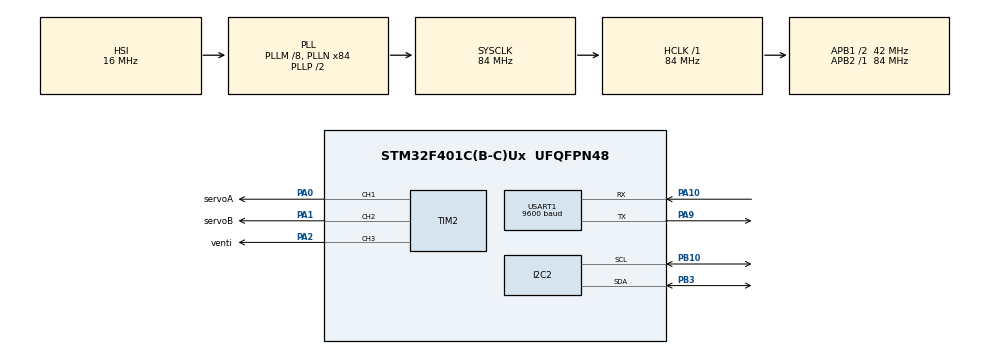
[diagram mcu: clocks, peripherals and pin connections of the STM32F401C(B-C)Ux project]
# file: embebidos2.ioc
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Mcu.Family=STM32F4
Mcu.Name=STM32F401C(B-C)Ux
Mcu.Package=UFQFPN48
Mcu.UserConstants=i2c_pin,$$_I2C2_IP_HANDLE_$$
NVIC.PriorityGroup=NVIC_PRIORITYGROUP_4
PA0-WKUP.GPIO_Label=servoA
PA0-WKUP.Signal=S_TIM2_CH1_ETR
PA1.GPIO_Label=servoB
PA1.Signal=S_TIM2_CH2
PA10.Mode=Asynchronous
PA10.Signal=USART1_RX
PA2.GPIO_Label=venti
PA2.Signal=S_TIM2_CH3
PA9.Mode=Asynchronous
PA9.Signal=USART1_TX
PB10.Mode=I2C
PB10.Signal=I2C2_SCL
PB3.Mode=I2C
PB3.Signal=I2C2_SDA
PH0\ -\ OSC_IN.Mode=HSE-External-Oscillator
PH0\ -\ OSC_IN.Signal=RCC_OSC_IN
PH1\ -\ OSC_OUT.Mode=HSE-External-Oscillator
PH1\ -\ OSC_OUT.Signal=RCC_OSC_OUT
ProjectManager.HeapSize=0x200
ProjectManager.StackSize=0x400
ProjectManager.TargetToolchain=CMake
RCC.48MHZClocksFreq_Value=42000000
RCC.AHBFreq_Value=84000000
RCC.APB1CLKDivider=RCC_HCLK_DIV2
RCC.APB1Freq_Value=42000000
RCC.APB1TimFreq_Value=84000000
RCC.APB2Freq_Value=84000000
RCC.APB2TimFreq_Value=84000000
RCC.CortexFreq_Value=84000000
RCC.HCLKFreq_Value=84000000
RCC.HSE_VALUE=25000000
RCC.HSI_VALUE=16000000
RCC.LSE_VALUE=32768
RCC.PLLM=8
RCC.PLLN=84
RCC.SYSCLKFreq_VALUE=84000000
RCC.SYSCLKSource=RCC_SYSCLKSOURCE_PLLCLK
RCC.VCOOutputFreq_Value=168000000
SH.S_TIM2_CH1_ETR.0=TIM2_CH1,PWM Generation1 CH1
SH.S_TIM2_CH2.0=TIM2_CH2,PWM Generation2 CH2
SH.S_TIM2_CH3.0=TIM2_CH3,PWM Generation3 CH3
TIM2.Channel-PWM\ Generation1\ CH1=TIM_CHANNEL_1
TIM2.Channel-PWM\ Generation2\ CH2=TIM_CHANNEL_2
TIM2.Channel-PWM\ Generation3\ CH3=TIM_CHANNEL_3
USART1.BaudRate=9600
USART1.VirtualMode=VM_ASYNC
board=custom

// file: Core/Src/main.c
/* USER CODE BEGIN Header */
/**
  ******************************************************************************
  * @file           : main.c
  * @brief          : Main program body
  ******************************************************************************
  * @attention
  *
  * Copyright (c) 2026 STMicroelectronics.
  * All rights reserved.
  *
  * This software is licensed under terms that can be found in the LICENSE file
  * in the root directory of this software component.
  * If no LICENSE file comes with this software, it is provided AS-IS.
  *
  ******************************************************************************
  */
/* USER CODE END Header */
#include "main.h"

/* USER CODE BEGIN Includes */

#include "stdio.h"
#include "string.h"
#include "stdlib.h"
#include "uart.h"
//#include "adc_x.h"

#include "delays.h"
#include "BH1750.h"

#include "BME280_STM32.h"

/* USER CODE END Includes */

I2C_HandleTypeDef hi2c2;

TIM_HandleTypeDef htim2;

UART_HandleTypeDef huart1;

/* USER CODE BEGIN PV */
/*uint16_t codigo;

float voltaje;
float bateria;
/*char buf[64];*/
char buffer[50];
float v_pot, v_fuente, lux;
uint16_t raw_luz =0;
#define FACTOR_FUENTE 4.0f // pon 4.0f si usas un divisor 4:1

float Temperature, Pressure, Humidity; // Variables para mediciones del BME280

/*uint8_t contador = 0;     // va de 0 a 50
int8_t  paso = 1;   */      // +1 sube, -1 baja*/

/* USER CODE END PV */

void SystemClock_Config(void);
static void MX_GPIO_Init(void);
static void MX_USART1_UART_Init(void);
static void MX_I2C2_Init(void);
static void MX_TIM2_Init(void);

int main(void)
{

  /* MCU Configuration--------------------------------------------------------*/

  /* Reset of all peripherals, Initializes the Flash interface and the Systick. */
  HAL_Init();

  /* Configure the system clock */
  SystemClock_Config();

  /* Initialize all configured peripherals */
  MX_GPIO_Init();
  MX_USART1_UART_Init();
  MX_I2C2_Init();
  MX_TIM2_Init();
  /* USER CODE BEGIN 2 */

uartx_write_text(&huart1,"Iniciando el programa\r\n");
/*char buffer[50];*/
uartx_write_text(&huart1, "Iniciando el programa\r\n");
BH1750_init();   // obligatorio: también inicia los delay

BME280_Config(OSRS_2, OSRS_16, OSRS_1, MODE_FORCED, T_SB_0p5, IIR_16);
  /* USER CODE END 2 */

  /* Infinite loop */
  /* USER CODE BEGIN WHILE */
  while (1)
  {

   /* uartx_write_text(&huart1,"Iniciando el programa\r\n");
    HAL_Delay(1000);*/
    /*codigo = ADC_Read(&hadc1);*/

    /*ADC_Read_All(&hadc1, adc1_canales, adc1_codigo);

    sprintf(buffer, "ADC Value: %u\r\n", adc1_codigo[0]);
    uartx_write_text(&huart1, buffer);
    voltaje = adc1_codigo[0] * 3.3 / 4095.0;
    bateria = (float)adc1_codigo[1] * 3.3 / 4095.0;
    bateria = bateria * 4; // Ajuste según el divisor de voltaje
    sprintf(buffer, "Voltage: %.2f V\r\n", voltaje);
    uartx_write_text(&huart1, buffer);
    HAL_Delay(1000); // una lectura cada 1 segundo  */

    // 1. ADC: potenciometro y fuente
   /* ADC_Read_All(&hadc1, adc1_canales, adc1_codigo);*/

    // Potenciometro
    /*v_pot = adc1_codigo[0] * 3.3f / 4095.0f;

    // Fuente de 12 V
    // La fuente está conectada al tercer canal -> adc1_codigo[2]
    v_fuente = adc1_codigo[2] * 3.3f / 4095.0f * FACTOR_FUENTE;*/

    // 2. BH1750
    BH1750_write(power_up);
    BH1750_write(continua_auto_res1);

    delay_ms(180);

    raw_luz = BH1750_Lumen(continua_LO_1); // modo baja resolución

    // 3. Enviar datos por UART
    /*sprintf(buffer,
            "Pot: %.2f V | Fuente: %.2f V | Luz: %u lx\r\n",
            v_pot,
            v_fuente,
            raw_luz);

    uartx_write_text(&huart1, buffer);*/

    BME280_WakeUP(); // Poner en modo FORCED para realizar una medición
HAL_Delay(100);  // Esperar a que finalice la medición

BME280_Measure(); // Leer los datos del BME280

sprintf(buffer, "Temp: %.2f °C | Hum: %.2f %%\r\n |Luz: %u lx\r\n",
        Temperature, Humidity, raw_luz);

    uartx_write_text(&huart1, buffer);
    HAL_Delay(1000);
}

    /* USER CODE END WHILE */

    /* USER CODE BEGIN 3 */

    // Valores que dependen del contador
    /*uint16_t volt_mv = contador * 100;   // 0 a 5000 mV  -> 0 a 5 V
    uint16_t luz     = contador * 2;     // 0 a 100 %
    uint16_t lux     = contador * 10;    // 0 a 500 lux

    // Enviar: voltaje,luz,luminosidad
    int n = sprintf(buf, "%u.%02u,%u,%u\r\n",
                    volt_mv / 1000, (volt_mv % 1000) / 10, luz, lux);
    HAL_UART_Transmit(&huart1, (uint8_t*)buf, n, 100);

    // Actualizar contador (sube hasta 50 y luego baja hasta 0)
    contador += paso;
    if (contador >= 50) paso = -1;
    if (contador == 0)  paso = 1;

    HAL_Delay(200);  */ // una lectura cada 200 ms

  /* USER CODE END 3 */
}

void SystemClock_Config(void)
{
  RCC_OscInitTypeDef RCC_OscInitStruct = {0};
  RCC_ClkInitTypeDef RCC_ClkInitStruct = {0};

  /** Configure the main internal regulator output voltage
  */
  __HAL_RCC_PWR_CLK_ENABLE();
  __HAL_PWR_VOLTAGESCALING_CONFIG(PWR_REGULATOR_VOLTAGE_SCALE2);

  /** Initializes the RCC Oscillators according to the specified parameters
  * in the RCC_OscInitTypeDef structure.
  */
  RCC_OscInitStruct.OscillatorType = RCC_OSCILLATORTYPE_HSI;
  RCC_OscInitStruct.HSIState = RCC_HSI_ON;
  RCC_OscInitStruct.HSICalibrationValue = RCC_HSICALIBRATION_DEFAULT;
  RCC_OscInitStruct.PLL.PLLState = RCC_PLL_ON;
  RCC_OscInitStruct.PLL.PLLSource = RCC_PLLSOURCE_HSI;
  RCC_OscInitStruct.PLL.PLLM = 8;
  RCC_OscInitStruct.PLL.PLLN = 84;
  RCC_OscInitStruct.PLL.PLLP = RCC_PLLP_DIV2;
  RCC_OscInitStruct.PLL.PLLQ = 4;
  if (HAL_RCC_OscConfig(&RCC_OscInitStruct) != HAL_OK)
  {
    Error_Handler();
  }

  /** Initializes the CPU, AHB and APB buses clocks
  */
  RCC_ClkInitStruct.ClockType = RCC_CLOCKTYPE_HCLK|RCC_CLOCKTYPE_SYSCLK
                              |RCC_CLOCKTYPE_PCLK1|RCC_CLOCKTYPE_PCLK2;
  RCC_ClkInitStruct.SYSCLKSource = RCC_SYSCLKSOURCE_PLLCLK;
  RCC_ClkInitStruct.AHBCLKDivider = RCC_SYSCLK_DIV1;
  RCC_ClkInitStruct.APB1CLKDivider = RCC_HCLK_DIV2;
  RCC_ClkInitStruct.APB2CLKDivider = RCC_HCLK_DIV1;

  if (HAL_RCC_ClockConfig(&RCC_ClkInitStruct, FLASH_LATENCY_2) != HAL_OK)
  {
    Error_Handler();
  }
}

static void MX_I2C2_Init(void)
{

  hi2c2.Instance = I2C2;
  hi2c2.Init.ClockSpeed = 100000;
  hi2c2.Init.DutyCycle = I2C_DUTYCYCLE_2;
  hi2c2.Init.OwnAddress1 = 0;
  hi2c2.Init.AddressingMode = I2C_ADDRESSINGMODE_7BIT;
  hi2c2.Init.DualAddressMode = I2C_DUALADDRESS_DISABLE;
  hi2c2.Init.OwnAddress2 = 0;
  hi2c2.Init.GeneralCallMode = I2C_GENERALCALL_DISABLE;
  hi2c2.Init.NoStretchMode = I2C_NOSTRETCH_DISABLE;
  if (HAL_I2C_Init(&hi2c2) != HAL_OK)
  {
    Error_Handler();
  }

}

static void MX_TIM2_Init(void)
{

  TIM_MasterConfigTypeDef sMasterConfig = {0};
  TIM_OC_InitTypeDef sConfigOC = {0};

  htim2.Instance = TIM2;
  htim2.Init.Prescaler = 0;
  htim2.Init.CounterMode = TIM_COUNTERMODE_UP;
  htim2.Init.Period = 4294967295;
  htim2.Init.ClockDivision = TIM_CLOCKDIVISION_DIV1;
  htim2.Init.AutoReloadPreload = TIM_AUTORELOAD_PRELOAD_DISABLE;
  if (HAL_TIM_PWM_Init(&htim2) != HAL_OK)
  {
    Error_Handler();
  }
  sMasterConfig.MasterOutputTrigger = TIM_TRGO_RESET;
  sMasterConfig.MasterSlaveMode = TIM_MASTERSLAVEMODE_DISABLE;
  if (HAL_TIMEx_MasterConfigSynchronization(&htim2, &sMasterConfig) != HAL_OK)
  {
    Error_Handler();
  }
  sConfigOC.OCMode = TIM_OCMODE_PWM1;
  sConfigOC.Pulse = 0;
  sConfigOC.OCPolarity = TIM_OCPOLARITY_HIGH;
  sConfigOC.OCFastMode = TIM_OCFAST_DISABLE;
  if (HAL_TIM_PWM_ConfigChannel(&htim2, &sConfigOC, TIM_CHANNEL_1) != HAL_OK)
  {
    Error_Handler();
  }
  if (HAL_TIM_PWM_ConfigChannel(&htim2, &sConfigOC, TIM_CHANNEL_2) != HAL_OK)
  {
    Error_Handler();
  }
  if (HAL_TIM_PWM_ConfigChannel(&htim2, &sConfigOC, TIM_CHANNEL_3) != HAL_OK)
  {
    Error_Handler();
  }
  HAL_TIM_MspPostInit(&htim2);

}

static void MX_USART1_UART_Init(void)
{

  huart1.Instance = USART1;
  huart1.Init.BaudRate = 9600;
  huart1.Init.WordLength = UART_WORDLENGTH_8B;
  huart1.Init.StopBits = UART_STOPBITS_1;
  huart1.Init.Parity = UART_PARITY_NONE;
  huart1.Init.Mode = UART_MODE_TX_RX;
  huart1.Init.HwFlowCtl = UART_HWCONTROL_NONE;
  huart1.Init.OverSampling = UART_OVERSAMPLING_16;
  if (HAL_UART_Init(&huart1) != HAL_OK)
  {
    Error_Handler();
  }

}

static void MX_GPIO_Init(void)
{

  /* GPIO Ports Clock Enable */
  __HAL_RCC_GPIOH_CLK_ENABLE();
  __HAL_RCC_GPIOA_CLK_ENABLE();
  __HAL_RCC_GPIOB_CLK_ENABLE();

}

void Error_Handler(void)
{
  __disable_irq();
  while (1)
  {
  }
}
